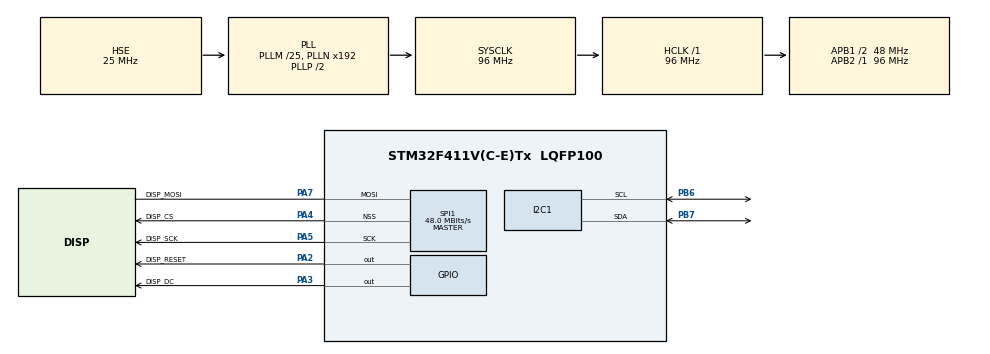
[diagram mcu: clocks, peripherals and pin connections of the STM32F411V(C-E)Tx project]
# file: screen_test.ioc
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Mcu.Family=STM32F4
Mcu.Name=STM32F411V(C-E)Tx
Mcu.Package=LQFP100
NVIC.PriorityGroup=NVIC_PRIORITYGROUP_4
NVIC.TIM4_IRQn=true\:0\:0\:false\:false\:true\:true\:true\:true
PA13.Mode=Trace_Asynchronous_SW
PA13.Signal=SYS_JTMS-SWDIO
PA14.Mode=Trace_Asynchronous_SW
PA14.Signal=SYS_JTCK-SWCLK
PA2.GPIO_Label=DISP_RESET
PA2.Signal=GPIO_Output
PA3.GPIO_Label=DISP_DC
PA3.Signal=GPIO_Output
PA4.GPIO_Label=DISP_CS
PA4.Mode=NSS_Signal_Hard_Output
PA4.Signal=SPI1_NSS
PA5.GPIO_Label=DISP_SCK
PA5.Mode=Simplex_Bidirectional_Master
PA5.Signal=SPI1_SCK
PA7.GPIO_Label=DISP_MOSI
PA7.Mode=Simplex_Bidirectional_Master
PA7.Signal=SPI1_MOSI
PB3.Mode=Trace_Asynchronous_SW
PB3.Signal=SYS_JTDO-SWO
PB6.Mode=I2C
PB6.Signal=I2C1_SCL
PB7.Mode=I2C
PB7.Signal=I2C1_SDA
PH0\ -\ OSC_IN.Mode=HSE-External-Oscillator
PH0\ -\ OSC_IN.Signal=RCC_OSC_IN
PH1\ -\ OSC_OUT.Mode=HSE-External-Oscillator
PH1\ -\ OSC_OUT.Signal=RCC_OSC_OUT
ProjectManager.HeapSize=0x200
ProjectManager.StackSize=0x400
ProjectManager.TargetToolchain=STM32CubeIDE
RCC.48MHZClocksFreq_Value=48000000
RCC.AHBFreq_Value=96000000
RCC.APB1CLKDivider=RCC_HCLK_DIV2
RCC.APB1Freq_Value=48000000
RCC.APB1TimFreq_Value=96000000
RCC.APB2Freq_Value=96000000
RCC.APB2TimFreq_Value=96000000
RCC.CortexFreq_Value=96000000
RCC.HCLKFreq_Value=96000000
RCC.HSE_VALUE=25000000
RCC.HSI_VALUE=16000000
RCC.LSE_VALUE=32768
RCC.PLLM=25
RCC.PLLSourceVirtual=RCC_PLLSOURCE_HSE
RCC.SYSCLKFreq_VALUE=96000000
RCC.SYSCLKSource=RCC_SYSCLKSOURCE_PLLCLK
RCC.VCOOutputFreq_Value=192000000
SPI1.BaudRatePrescaler=SPI_BAUDRATEPRESCALER_2
SPI1.CalculateBaudRate=48.0 MBits/s
SPI1.Direction=SPI_DIRECTION_1LINE
SPI1.Mode=SPI_MODE_MASTER
SPI1.VirtualNSS=VM_NSSHARD
SPI1.VirtualType=VM_MASTER
TIM4.Period=10000-1
TIM4.Prescaler=9600-1
VP_TIM4_VS_ClockSourceINT.Mode=Internal
board=custom

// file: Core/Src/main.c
/* USER CODE BEGIN Header */
/**
  ******************************************************************************
  * @file           : main.c
  * @brief          : Main program body
  ******************************************************************************
  * @attention
  *
  * Copyright (c) 2023 STMicroelectronics.
  * All rights reserved.
  *
  * This software is licensed under terms that can be found in the LICENSE file
  * in the root directory of this software component.
  * If no LICENSE file comes with this software, it is provided AS-IS.
  *
  ******************************************************************************
  */
/* USER CODE END Header */
#include "main.h"

/* USER CODE BEGIN Includes */
#include "ili9341.h"
#include "Accelerometer.h"
#include <stdio.h>
#include <stdlib.h>
#include <string.h>
#include <math.h>
#include <limits.h>
#include <time.h>

/* USER CODE END Includes */

/* USER CODE BEGIN PTD */

#define LINE_THICKNESS 18
#define SCREEN_HEIGHT 320
#define SCREEN_WIDTH 240

/* USER CODE END PTD */

I2C_HandleTypeDef hi2c1;

SPI_HandleTypeDef hspi1;

TIM_HandleTypeDef htim4;

/* USER CODE BEGIN PV */

int matrix[80][60];
int goal[2] = {0, 0};

int positionsX[550];
int positionsY[550];

uint16_t colors[] = {ILI9341_RED, ILI9341_GREEN, ILI9341_BLUE};
int step = 1;

uint16_t y = 0;
uint16_t x = 0;
uint16_t z = 0;

/* USER CODE END PV */

void SystemClock_Config(void);
static void MX_GPIO_Init(void);
static void MX_SPI1_Init(void);
static void MX_I2C1_Init(void);
static void MX_TIM4_Init(void);

/* USER CODE BEGIN 0 */
void start() {
  ILI9341_FillScreen(ILI9341_WHITE);
  FillMatrix();
  DrawCenteredBigX(ILI9341_BLACK);
  RenderMatrix();
  randomSortCurrentPositions(positionsX, positionsY, 550);
  HAL_TIM_Base_Start_IT(&htim4);

}

void randomSortCurrentPositions(int positionsX[], int positionsY[], int size) {
    srand(time(NULL));

    for (int i = size - 1; i > 0; --i) {
        int j = rand() % (i + 1);

        int tempX = positionsX[i];
        positionsX[i] = positionsX[j];
        positionsX[j] = tempX;

		int tempY = positionsY[i];
		positionsY[i] = positionsY[j];
		positionsY[j] = tempY;
    }
}

void randomSortNextPositions(int possible_positions[][2], int size) {
    srand(time(NULL));

    for (int i = size-1; i > 0; --i) {
		int j = rand() % (i + 1);

		int tempY = possible_positions[i][0];
		int tempX = possible_positions[i][1];

		possible_positions[i][0] = possible_positions[j][0];
		possible_positions[i][1] = possible_positions[j][1];

		possible_positions[j][0] = tempY;
		possible_positions[j][1] = tempX;
	}
}

void DrawBigX(uint16_t x, uint16_t y, uint16_t size, uint16_t thickness, uint16_t color) {
  uint16_t i, j;

  for (j = 0; j < thickness; j++) {
    for (i = 0; i < size; i++) {
      ILI9341_DrawPixel(x + i, y + i + j, color);
      matrix[(y + i + j)/4][(x + i)/4] = 2;

    }
  }

  for (j = 0; j < thickness; j++) {
    for (i = 0; i < size; i++) {
	  ILI9341_DrawPixel(SCREEN_WIDTH - i-1, y + i + j, color);
	  matrix[(y + i + j)/4][(SCREEN_WIDTH - i)/4] = 2;

    }
  }

  for (j = 38; j < 46; j++) {
	  for (i = 29; i < 31; i++) {
		  matrix[j][i] = 0;
		  matrix[j][i+3] = 2;
		  matrix[j][i-3] = 2;
		  ILI9341_FillRectangle(i*4, j*4, 4, 4, ILI9341_WHITE);
	  }
  }

}

void DrawCenteredBigX(uint16_t color) {
  uint16_t size = SCREEN_WIDTH > SCREEN_HEIGHT ? SCREEN_HEIGHT : SCREEN_WIDTH;
  uint16_t x = (SCREEN_WIDTH - size) / 2;
  uint16_t y = (SCREEN_HEIGHT - size) / 2;

  DrawBigX(x, y, size, LINE_THICKNESS, color);
}

void FillMatrix() {
	int idx = 0;
	for (int i = 0; i < 80; i++) {
		for (int j = 0; j < 60; j++) {
			if (i < 9 || (i == 9 && j > 25  && j < 36)) {
				positionsY[idx] = i;
				positionsX[idx] = j;
				matrix[i][j] = 1;
				idx++;
			} else matrix[i][j] = 0;
		}
	}

}

void RenderMatrix() {
	for (int i = 0; i < SCREEN_HEIGHT ; i++) {
		for (int j = 0; j < SCREEN_WIDTH; j++) {
			if (matrix[i][j] == 1) ILI9341_FillRectangle(j*4, i*4, 4, 4, colors[step-1]);
			else if (matrix[i][j] == 0) ILI9341_FillRectangle(j*4, i*4, 4, 4, ILI9341_WHITE);
		}
	}
}

void SetGoal(int *goal_y, int * goal_x) {
	x = ((ReadFromAccelerometer(0x29) << 8) | ReadFromAccelerometer(0x28));
	y = ((ReadFromAccelerometer(0x2B) << 8) | ReadFromAccelerometer(0x2A));
	z = ((ReadFromAccelerometer(0x2D) << 8) | ReadFromAccelerometer(0x2C));
	if (z <= 20000 && z >= 14000) {
		step++;
		step = step > 3 ? 1 : step;
		MX_TIM4_Init();
		start();
	}

	if (y >= 13001 && y <=16000) {
		*goal_y = 40;
		*goal_x = 1;
	}
	else if ( y >= 49000 && y <= 55999 ) {
		*goal_y = 40;
		*goal_x = -1;
	}

	else if ( x < 40000 && x > 5000) {

		if (y < 2000 || y > 64000) {
			*goal_y = 105;
			*goal_x = 30;
		}
		else if (y >= 60000 && y <= 64000) {
			*goal_y = 105;
			*goal_x = 15;
		}
		else if ( y >= 56000 && y <= 59999 ) {
			*goal_y = 80;
			*goal_x = 0;
		}

		else if ( y >= 2000 && y <= 7000) {
			*goal_y = 105;
			*goal_x = 45;
		}
		else if (y >= 7001 && y <=13000) {
			*goal_y = 80;
			*goal_x = 60;
		}

	}
	else {
		if ((y <= 4000 && y >= 0) || (y <= 66000 && y >= 62000) ) {
			*goal_y = -20;
			*goal_x = 30;
		} else if (y < 62000 && y >= 58000) {
			*goal_y = 0;
			*goal_x = 15;
		} else if (y < 58000 && y >= 54000) {
			*goal_y = 0;
			*goal_x = 0;
		}
		else if (y <= 8000 && y > 4000) {
			*goal_y = 0;
			*goal_x = 45;
		}
		else if (y <= 12000 && y > 8000) {
			*goal_y = 0;
			*goal_x = 60;
		}
	}
}

void NextPosition(int y, int x, int *result_y, int *result_x) {
    int possible_positions[3][8][2] = {{{y - 1, x}, {y - 1, x - 1}, {y - 1, x + 1},
                                    {y, x - 1}, {y, x + 1}, {y + 1, x}, {y + 1, x - 1},
									{y + 1, x + 1}},
    								{{y - 2, x}, {y - 2, x - 2}, {y - 2, x + 2},
    		                        {y, x - 2}, {y, x + 2}, {y + 2, x}, {y + 2, x - 2},
    								{y + 2, x + 2}},
									{{y - 3, x}, {y - 3, x - 3}, {y - 3, x + 3},
									{y, x - 3}, {y, x + 3}, {y + 3, x}, {y + 3, x - 3},
									{y + 3, x + 3}}};

    int closest_pos[2] = {y, x};
    int current_goal[2] = {goal[0], goal[1]};
    randomSortNextPositions(possible_positions[0], 8);
    if (step == 2) randomSortNextPositions(possible_positions[1], 8);

    if (goal[1] == 1 || goal[1] == -1) {
    	current_goal[0] = y > 40? 75 : 5;
    	current_goal[1] = goal[1] * 200;
    }
    double min_dist = (current_goal[0] - closest_pos[0]) * (current_goal[0] - closest_pos[0]) +
    			(current_goal[1] - closest_pos[1]) * (current_goal[1] - closest_pos[1]);

    for (int s = 0; s < step; s++) {
    	for (int i = 0; i < 8; i++) {
    		int pos[2] = {possible_positions[s][i][0], possible_positions[s][i][1]};
    		if ( (pos[0] >= 0 && pos[0] < 80) && (pos[1] >= 0 && pos[1] < 60 &&
    				matrix[pos[0]][pos[1]] == 0) ) {
    			double dist = (current_goal[0] - pos[0]) * (current_goal[0] - pos[0]) +
    							(current_goal[1] - pos[1]) * (current_goal[1] - pos[1]);

    			if (dist < min_dist) {
    				min_dist = dist;
    				closest_pos[0] = pos[0];
    				closest_pos[1] = pos[1];
    			}
    		}
    	}
    }

    *result_y = closest_pos[0];
    *result_x = closest_pos[1];
}

void RunEpoch(){
	int goal_x = 0;
	int goal_y = 0;
	SetGoal(&goal_y, &goal_x);

	goal[0] = goal_y;
	goal[1] = goal_x;

	for (int i = 0; i < 550; i ++) {
		int y = positionsY[i];
		int x = positionsX[i];
		int result_y = 0;
		int result_x = 0;
		NextPosition(y, x, &result_y, &result_x);

		if ( y != result_y || x != result_x) {
			ILI9341_FillRectangle(x*4, y*4, 4, 4, ILI9341_WHITE);
			ILI9341_FillRectangle(result_x*4, result_y*4, 4, 4, colors[step-1]);
			matrix[y][x] = 0;
			matrix[result_y][result_x] = 1;

			positionsY[i] = result_y;
			positionsX[i] = result_x;
		}
	}

}

/* USER CODE END 0 */

int main(void)
{

  /* MCU Configuration--------------------------------------------------------*/

  /* Reset of all peripherals, Initializes the Flash interface and the Systick. */
  HAL_Init();

  /* Configure the system clock */
  SystemClock_Config();

  /* Initialize all configured peripherals */
  MX_GPIO_Init();
  MX_SPI1_Init();
  MX_I2C1_Init();
  MX_TIM4_Init();
  /* USER CODE BEGIN 2 */
  AccelerometerInit();
  HAL_Delay(100);

  ILI9341_Init();
  start();

  /* USER CODE END 2 */

  /* Infinite loop */
  while (1)
  {

  }
}

void TIM4_IRQHandler(void)
{
  RunEpoch();

  HAL_TIM_IRQHandler(&htim4);
}

void SystemClock_Config(void)
{
  RCC_OscInitTypeDef RCC_OscInitStruct = {0};
  RCC_ClkInitTypeDef RCC_ClkInitStruct = {0};

  /** Configure the main internal regulator output voltage
  */
  __HAL_RCC_PWR_CLK_ENABLE();
  __HAL_PWR_VOLTAGESCALING_CONFIG(PWR_REGULATOR_VOLTAGE_SCALE1);

  /** Initializes the RCC Oscillators according to the specified parameters
  * in the RCC_OscInitTypeDef structure.
  */
  RCC_OscInitStruct.OscillatorType = RCC_OSCILLATORTYPE_HSE;
  RCC_OscInitStruct.HSEState = RCC_HSE_ON;
  RCC_OscInitStruct.PLL.PLLState = RCC_PLL_ON;
  RCC_OscInitStruct.PLL.PLLSource = RCC_PLLSOURCE_HSE;
  RCC_OscInitStruct.PLL.PLLM = 25;
  RCC_OscInitStruct.PLL.PLLN = 192;
  RCC_OscInitStruct.PLL.PLLP = RCC_PLLP_DIV2;
  RCC_OscInitStruct.PLL.PLLQ = 4;
  if (HAL_RCC_OscConfig(&RCC_OscInitStruct) != HAL_OK)
  {
    Error_Handler();
  }

  /** Initializes the CPU, AHB and APB buses clocks
  */
  RCC_ClkInitStruct.ClockType = RCC_CLOCKTYPE_HCLK|RCC_CLOCKTYPE_SYSCLK
                              |RCC_CLOCKTYPE_PCLK1|RCC_CLOCKTYPE_PCLK2;
  RCC_ClkInitStruct.SYSCLKSource = RCC_SYSCLKSOURCE_PLLCLK;
  RCC_ClkInitStruct.AHBCLKDivider = RCC_SYSCLK_DIV1;
  RCC_ClkInitStruct.APB1CLKDivider = RCC_HCLK_DIV2;
  RCC_ClkInitStruct.APB2CLKDivider = RCC_HCLK_DIV1;

  if (HAL_RCC_ClockConfig(&RCC_ClkInitStruct, FLASH_LATENCY_3) != HAL_OK)
  {
    Error_Handler();
  }
}

static void MX_I2C1_Init(void)
{

  hi2c1.Instance = I2C1;
  hi2c1.Init.ClockSpeed = 100000;
  hi2c1.Init.DutyCycle = I2C_DUTYCYCLE_2;
  hi2c1.Init.OwnAddress1 = 0;
  hi2c1.Init.AddressingMode = I2C_ADDRESSINGMODE_7BIT;
  hi2c1.Init.DualAddressMode = I2C_DUALADDRESS_DISABLE;
  hi2c1.Init.OwnAddress2 = 0;
  hi2c1.Init.GeneralCallMode = I2C_GENERALCALL_DISABLE;
  hi2c1.Init.NoStretchMode = I2C_NOSTRETCH_DISABLE;
  if (HAL_I2C_Init(&hi2c1) != HAL_OK)
  {
    Error_Handler();
  }

}

static void MX_SPI1_Init(void)
{

  /* SPI1 parameter configuration*/
  hspi1.Instance = SPI1;
  hspi1.Init.Mode = SPI_MODE_MASTER;
  hspi1.Init.Direction = SPI_DIRECTION_1LINE;
  hspi1.Init.DataSize = SPI_DATASIZE_8BIT;
  hspi1.Init.CLKPolarity = SPI_POLARITY_LOW;
  hspi1.Init.CLKPhase = SPI_PHASE_1EDGE;
  hspi1.Init.NSS = SPI_NSS_HARD_OUTPUT;
  hspi1.Init.BaudRatePrescaler = SPI_BAUDRATEPRESCALER_2;
  hspi1.Init.FirstBit = SPI_FIRSTBIT_MSB;
  hspi1.Init.TIMode = SPI_TIMODE_DISABLE;
  hspi1.Init.CRCCalculation = SPI_CRCCALCULATION_DISABLE;
  hspi1.Init.CRCPolynomial = 10;
  if (HAL_SPI_Init(&hspi1) != HAL_OK)
  {
    Error_Handler();
  }

}

void MX_TIM4_Init(void)
{

  TIM_ClockConfigTypeDef sClockSourceConfig = {0};
  TIM_MasterConfigTypeDef sMasterConfig = {0};

  htim4.Instance = TIM4;
  htim4.Init.Prescaler = 9600-1;
  htim4.Init.CounterMode = TIM_COUNTERMODE_UP;
  htim4.Init.Period = step != 2 ? 100-1: 500-1;
  htim4.Init.ClockDivision = TIM_CLOCKDIVISION_DIV1;
  htim4.Init.AutoReloadPreload = TIM_AUTORELOAD_PRELOAD_DISABLE;
  if (HAL_TIM_Base_Init(&htim4) != HAL_OK)
  {
    Error_Handler();
  }
  sClockSourceConfig.ClockSource = TIM_CLOCKSOURCE_INTERNAL;
  if (HAL_TIM_ConfigClockSource(&htim4, &sClockSourceConfig) != HAL_OK)
  {
    Error_Handler();
  }
  sMasterConfig.MasterOutputTrigger = TIM_TRGO_RESET;
  sMasterConfig.MasterSlaveMode = TIM_MASTERSLAVEMODE_DISABLE;
  if (HAL_TIMEx_MasterConfigSynchronization(&htim4, &sMasterConfig) != HAL_OK)
  {
    Error_Handler();
  }

}

static void MX_GPIO_Init(void)
{
  GPIO_InitTypeDef GPIO_InitStruct = {0};

  /* GPIO Ports Clock Enable */
  __HAL_RCC_GPIOH_CLK_ENABLE();
  __HAL_RCC_GPIOA_CLK_ENABLE();
  __HAL_RCC_GPIOB_CLK_ENABLE();

  /*Configure GPIO pin Output Level */
  HAL_GPIO_WritePin(GPIOA, DISP_RESET_Pin|DISP_DC_Pin, GPIO_PIN_RESET);

  /*Configure GPIO pins : DISP_RESET_Pin DISP_DC_Pin */
  GPIO_InitStruct.Pin = DISP_RESET_Pin|DISP_DC_Pin;
  GPIO_InitStruct.Mode = GPIO_MODE_OUTPUT_PP;
  GPIO_InitStruct.Pull = GPIO_NOPULL;
  GPIO_InitStruct.Speed = GPIO_SPEED_FREQ_LOW;
  HAL_GPIO_Init(GPIOA, &GPIO_InitStruct);

}

void Error_Handler(void)
{
  __disable_irq();
  while (1)
  {
  }
}
